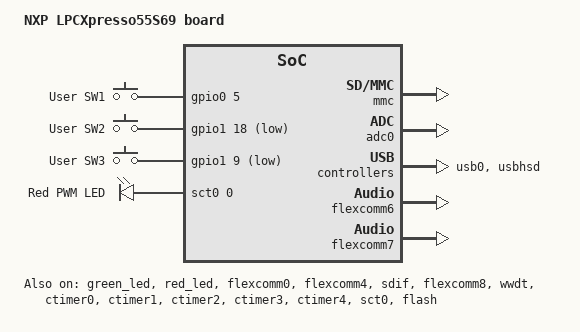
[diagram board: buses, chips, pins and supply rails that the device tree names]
/*
 * Copyright (c) 2019, NXP
 *
 * SPDX-License-Identifier: Apache-2.0
 */

/dts-v1/;

#include <nxp/nxp_lpc55S6x.dtsi>
#include "lpcxpresso55s69.dtsi"
#include <zephyr/dt-bindings/pwm/pwm.h>

/ {
	model = "NXP LPCXpresso55S69 board";
	compatible = "nxp,lpc55xxx", "nxp,lpc";

	cpus {
		/delete-node/ cpu@1;
	};

	aliases{
		sw0 = &user_button_1;
		sw1 = &user_button_2;
		sw2 = &user_button_3;
		watchdog0 = &wwdt;
		/* For pwm test suites */
		pwm-0 = &sct0;
		pwm-led0 = &red_pwm_led;
		red-pwm-led = &red_pwm_led;
		sdhc0 = &sdhc0;
		accel0 = &mma8652fc;
		sdhc0 = &sdif;
		watchdog0 = &wwdt;
	};

	chosen {
		zephyr,sram = &sram0;
		zephyr,flash-controller = &flash;
		zephyr,flash = &program_flash;
		zephyr,code-partition = &slot0_partition;
		zephyr,code-cpu1-partition = &slot1_partition;
		zephyr,sram-cpu1-partition = &sram3;
		zephyr,console = &flexcomm0;
		zephyr,shell-uart = &flexcomm0;
		zephyr,entropy = &rng;
	};

	gpio_keys {
		compatible = "gpio-keys";
		user_button_1: button_0 {
			label = "User SW1";
			gpios = <&gpio0 5 (GPIO_ACTIVE_HIGH | GPIO_PULL_UP)>;
		};
		user_button_2: button_1 {
			label = "User SW2";
			gpios = <&gpio1 18 (GPIO_ACTIVE_LOW | GPIO_PULL_UP)>;
		};
		user_button_3: button_2 {
			label = "User SW3";
			gpios = <&gpio1 9 (GPIO_ACTIVE_LOW | GPIO_PULL_UP)>;
		};
	};

	pwmleds {
		compatible = "pwm-leds";
		red_pwm_led: red_pwm_led {
			pwms = <&sct0 0 PWM_MSEC(20) PWM_POLARITY_NORMAL>;
			label = "Red PWM LED";
			status = "okay";
		};
	};
};

/*
 * Default for this board is to allocate SRAM0-2 to cpu0 but the
 * application can have an application specific device tree to
 * allocate the SRAM0-4 differently.
 *
 * For example, SRAM0-3 could be allocated to cpu0 with only SRAM4
 * for cpu1. This would require the zephyr,sram chosen value for cpu1
 * to be changed to sram4 and the value of sram0 to have a DT_SIZE_K
 * of 256.
 *
 */
&sram0 {
	compatible = "mmio-sram";
	reg = <0x20000000 DT_SIZE_K(192)>;
};

&gpio0 {
	status = "okay";
};

&gpio1 {
	status = "okay";
};

&green_led {
	status = "okay";
};

&red_led {
	status = "okay";
};

&flexcomm0 {
	status = "okay";
};

&flexcomm4 {
	status = "okay";
};

&sdif {
	status = "okay";
	pinctrl-0 = <&pinmux_sdif_default>;
	pinctrl-names = "default";
	mmc {
		compatible = "zephyr,sdmmc-disk";
		status = "okay";
	};
};

&flexcomm8 {
	status = "okay";
	dmas = <&dma0 2>, <&dma0 3>;
	dma-names = "rx", "tx";
	cs-gpios = <&gpio1 1 GPIO_ACTIVE_LOW>;
};

&wwdt {
	status = "okay";
	clk-divider = <1>;
};

&adc0 {
	status = "okay";
	pinctrl-0 = <&pinmux_lpadc0>;
	pinctrl-names = "default";
	clk-divider = <8>;
	clk-source = <0>;
	voltage-ref= <2>;
	calibration-average = <128>;
	power-level = <1>;
	offset-value-a = <10>;
	offset-value-b = <10>;
};

&mailbox {
	status = "okay";
};

&usb0 {
	pinctrl-0 = <&pinmux_usbfs>;
	pinctrl-names = "default";
	status = "okay";
};

zephyr_udc0: &usbhsd {
	status = "okay";
};

&ctimer0 {
	status = "okay";
	mode = <0>;
	input = <0>;
	prescale = <0>;
	clk-source = <3>;
};

&ctimer1 {
	status = "okay";
	mode = <0>;
	input = <0>;
	prescale = <0>;
	clk-source = <3>;
};

&ctimer2 {
	status = "okay";
	mode = <0>;
	input = <0>;
	prescale = <0>;
	clk-source = <3>;
};

&ctimer3 {
	status = "okay";
	mode = <0>;
	input = <0>;
	prescale = <0>;
	clk-source = <3>;
};

&ctimer4 {
	status = "okay";
	mode = <0>;
	input = <0>;
	prescale = <0>;
	clk-source = <3>;

};

/* I2S receive channel */
i2s0: &flexcomm6 {
	status = "okay";
	compatible = "nxp,lpc-i2s";
	#address-cells = <1>;
	#size-cells = <0>;
	dmas = <&dma0 16>;
	dma-names = "rx";
};

/* I2S transmit channel */
i2s1: &flexcomm7 {
	status = "okay";
	compatible = "nxp,lpc-i2s";
	#address-cells = <1>;
	#size-cells = <0>;
	dmas = <&dma0 19>;
	dma-names = "tx";
};

&sct0 {
	status = "okay";
	prescaler = <2>;
};

&flash {
	status = "okay";
};

&dma0 {
	status = "okay";
};

&dma1 {
	status = "okay";
};
